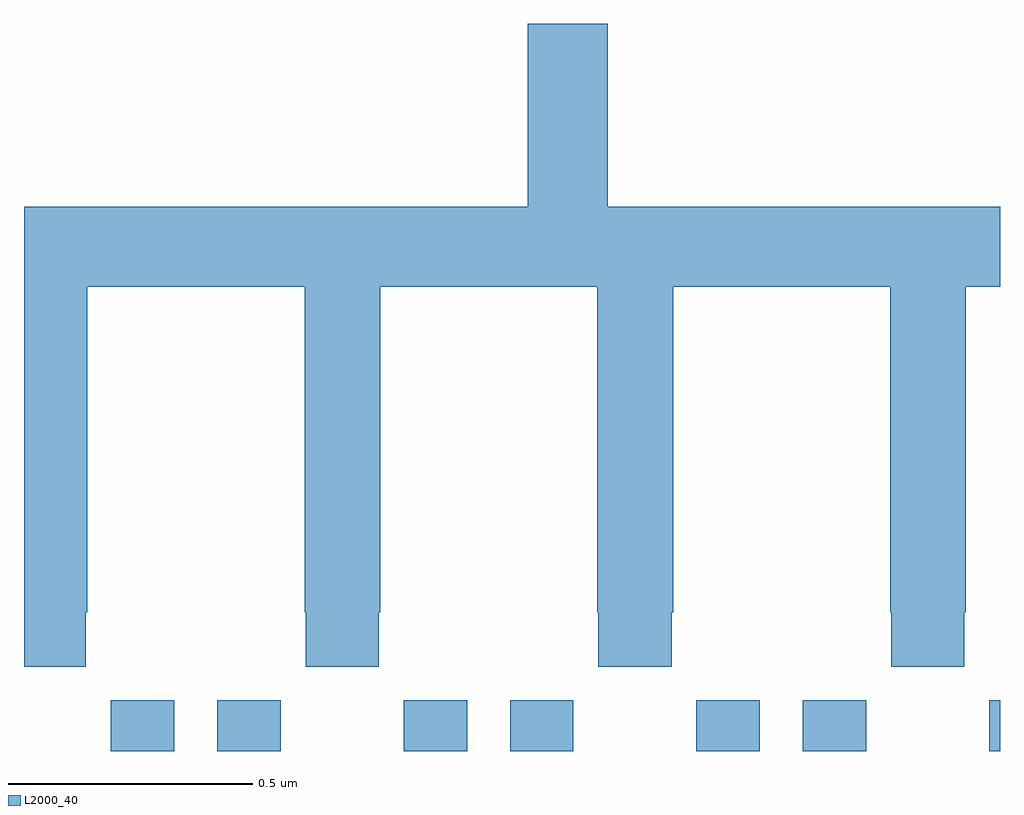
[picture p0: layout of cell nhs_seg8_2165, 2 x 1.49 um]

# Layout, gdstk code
import gdstk
lib = gdstk.Library(unit=1e-6, precision=1e-09)
def R(c, l, rs):  # rectangles x0, y0, x1, y1
    for r in rs: c.add(gdstk.rectangle(r[:2], r[2:], *l))
def P(c, l, *ps):  # polygons
    for p in ps: c.add(gdstk.Polygon(p, *l))
L2000_40 = (2000, 40)

nhs_seg8_2165 = lib.new_cell('nhs_seg8_2165')
R(nhs_seg8_2165, L2000_40, [(140.178,1096.9,140.308,1097.005), (140.396,1096.9,140.526,1097.005), (140.778,1096.9,140.908,1097.005), (140.996,1096.9,141.126,1097.005), (141.378,1096.9,141.508,1097.005), (141.596,1096.9,141.726,1097.005), (141.978,1096.9,142,1097.005)])
P(nhs_seg8_2165, L2000_40, [(140.127,1097.185),(140.13,1097.185),(140.13,1097.852),(140.575,1097.852),(140.575,1097.185),(140.577,1097.185),(140.577,1097.073),(140.727,1097.073),(140.727,1097.185),(140.73,1097.185),(140.73,1097.852),(141.175,1097.852),(141.175,1097.185),(141.177,1097.185),(141.177,1097.073),(141.327,1097.073),(141.327,1097.185),(141.33,1097.185),(141.33,1097.852),(141.775,1097.852),(141.775,1097.185),(141.777,1097.185),(141.777,1097.073),(141.927,1097.073),(141.927,1097.185),(141.93,1097.185),(141.93,1097.852),(142,1097.852),(142,1098.016),(141.196,1098.016),(141.196,1098.391),(141.032,1098.391),(141.032,1098.016),(140,1098.016),(140,1097.073),(140.127,1097.073)])

lib.write_gds('nhs_seg8_2165.gds')
